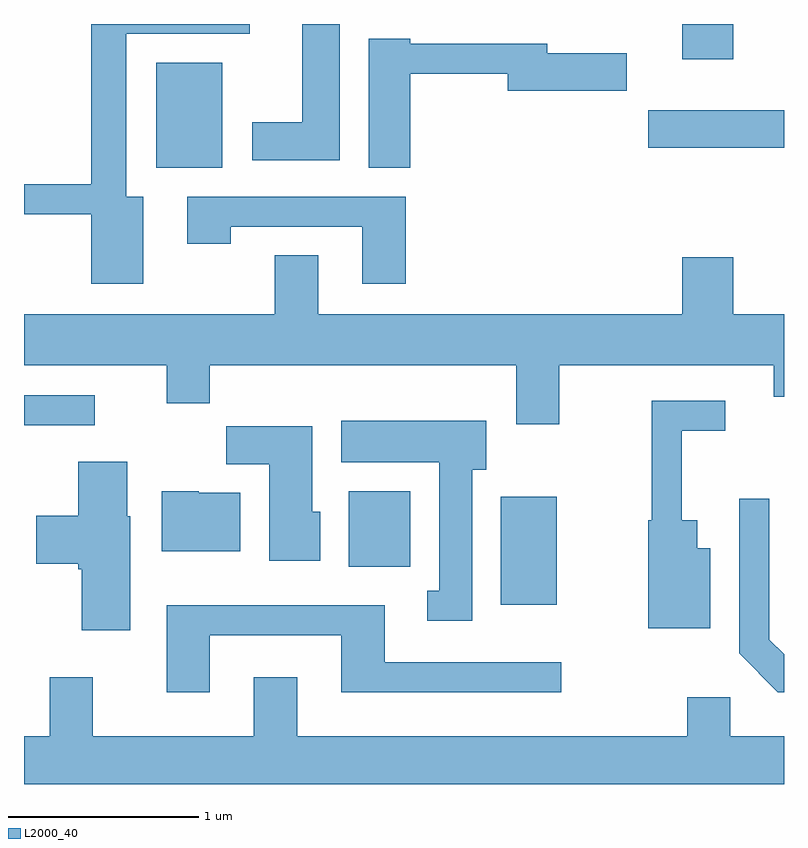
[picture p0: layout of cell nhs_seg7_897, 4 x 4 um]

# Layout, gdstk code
import gdstk
lib = gdstk.Library(unit=1e-6, precision=1e-09)
def R(c, l, rs):  # rectangles x0, y0, x1, y1
    for r in rs: c.add(gdstk.rectangle(r[:2], r[2:], *l))
def P(c, l, *ps):  # polygons
    for p in ps: c.add(gdstk.Polygon(p, *l))
L2000_40 = (2000, 40)

nhs_seg7_897 = lib.new_cell('nhs_seg7_897')
R(nhs_seg7_897, L2000_40, [(214.121,1795.196,214.414,1795.764), (213.321,1795.396,213.644,1795.794), (211.611,1796.141,211.983,1796.299), (212.306,1797.496,212.654,1798.049), (214.896,1797.601,215.611,1797.799), (215.076,1798.066,215.344,1798.252)])
P(nhs_seg7_897, L2000_40, [(213.274,1798.252),(213.076,1798.252),(213.076,1797.734),(212.811,1797.734),(212.811,1797.536),(213.274,1797.536)],
  [(212.239,1797.344),(212.149,1797.344),(212.149,1798.201),(212.798,1798.201),(212.798,1798.252),(211.966,1798.252),(211.966,1797.409),(211.611,1797.409),(211.611,1797.251),(211.966,1797.251),(211.966,1796.886),(212.239,1796.886)],
  [(213.644,1797.991),(214.156,1797.991),(214.156,1797.901),(214.784,1797.901),(214.784,1798.099),(214.364,1798.099),(214.364,1798.149),(213.644,1798.149),(213.644,1798.174),(213.426,1798.174),(213.426,1797.496),(213.644,1797.496)],
  [(213.619,1797.344),(212.471,1797.344),(212.471,1797.096),(212.699,1797.096),(212.699,1797.186),(213.391,1797.186),(213.391,1796.886),(213.619,1796.886)],
  [(214.429,1796.456),(215.556,1796.456),(215.556,1796.291),(215.611,1796.291),(215.611,1796.724),(215.344,1796.724),(215.344,1797.024),(215.076,1797.024),(215.076,1796.724),(213.159,1796.724),(213.159,1797.034),(212.931,1797.034),(212.931,1796.724),(211.611,1796.724),(211.611,1796.456),(212.361,1796.456),(212.361,1796.256),(212.589,1796.256),(212.589,1796.456),(214.201,1796.456),(214.201,1796.146),(214.429,1796.146)],
  [(215.224,1795.494),(215.154,1795.494),(215.154,1795.639),(215.074,1795.639),(215.074,1796.111),(215.303,1796.111),(215.303,1796.269),(214.916,1796.269),(214.916,1795.639),(214.896,1795.639),(214.896,1795.071),(215.224,1795.071)],
  [(213.969,1795.906),(214.044,1795.906),(214.044,1796.164),(213.281,1796.164),(213.281,1795.946),(213.796,1795.946),(213.796,1795.269),(213.733,1795.269),(213.733,1795.111),(213.969,1795.111)],
  [(213.169,1795.684),(213.129,1795.684),(213.129,1796.134),(212.676,1796.134),(212.676,1795.936),(212.901,1795.936),(212.901,1795.426),(213.169,1795.426)],
  [(212.169,1795.66),(212.154,1795.66),(212.154,1795.949),(211.896,1795.949),(211.896,1795.664),(211.676,1795.664),(211.676,1795.411),(211.896,1795.411),(211.896,1795.381),(211.916,1795.381),(211.916,1795.061),(212.169,1795.061)],
  [(212.749,1795.784),(212.53,1795.784),(212.53,1795.794),(212.336,1795.794),(212.336,1795.476),(212.749,1795.476)],
  [(215.611,1794.935),(215.534,1795.012),(215.534,1795.753),(215.376,1795.753),(215.376,1794.939),(215.579,1794.736),(215.611,1794.736)],
  [(212.589,1795.036),(213.281,1795.036),(213.281,1794.736),(214.438,1794.736),(214.438,1794.894),(213.509,1794.894),(213.509,1795.194),(212.361,1795.194),(212.361,1794.736),(212.589,1794.736)],
  [(215.611,1794.504),(215.329,1794.504),(215.329,1794.709),(215.101,1794.709),(215.101,1794.504),(213.049,1794.504),(213.049,1794.814),(212.821,1794.814),(212.821,1794.504),(211.974,1794.504),(211.974,1794.814),(211.746,1794.814),(211.746,1794.504),(211.611,1794.504),(211.611,1794.252),(215.611,1794.252)])

lib.write_gds('nhs_seg7_897.gds')
